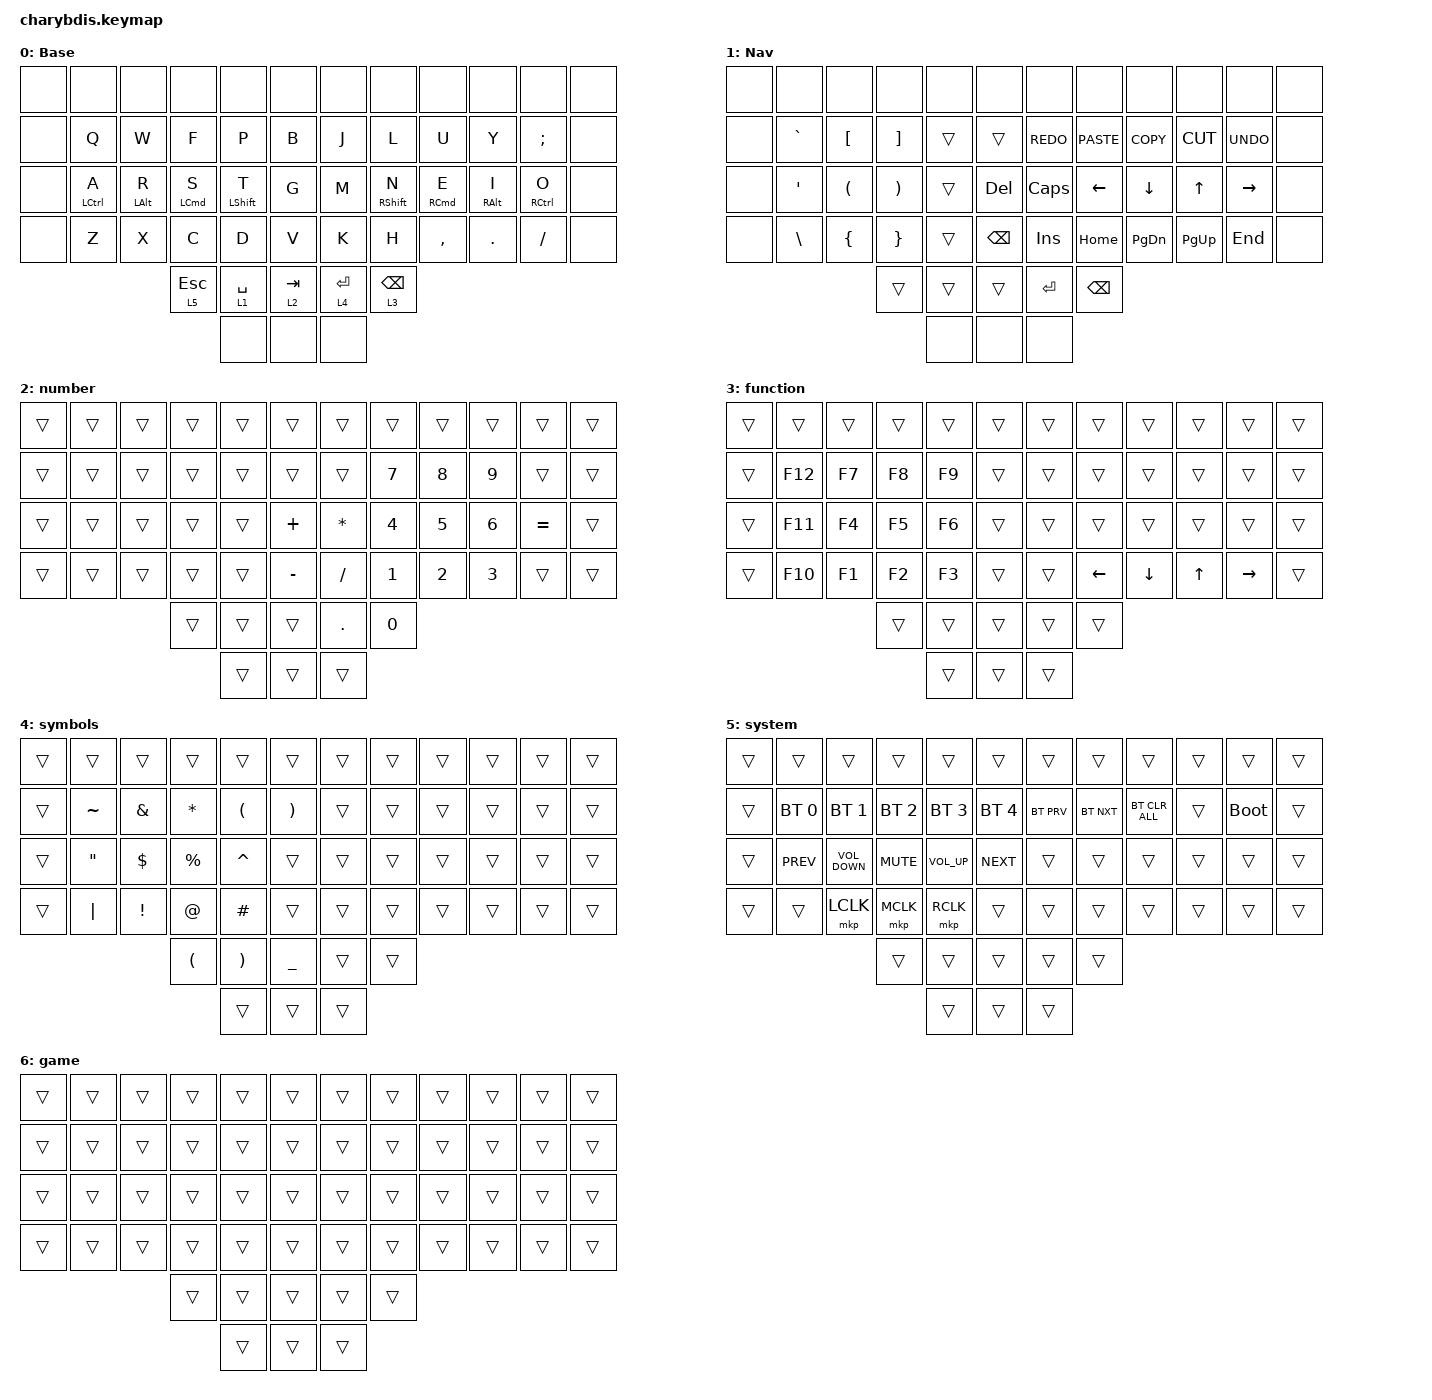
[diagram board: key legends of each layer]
#include <dt-bindings/zmk/mouse.h>
#include <behaviors.dtsi>
#include <dt-bindings/zmk/bt.h>
#include <dt-bindings/zmk/keys.h>
#include <dt-bindings/zmk/pointing.h>

&lt {
    tapping-term-ms = <280>;
    flavor = "balanced";
    quick-tap-ms = <150>;
    require-prior-idle-ms = <150>;
    hold-trigger-on-release;
};

&mt {
    tapping-term-ms = <280>;
    quick-tap-ms = <150>;
    require-prior-idle-ms = <150>;
    flavor = "balanced";
    hold-trigger-on-release;
};

/ {
    combos { compatible = "zmk,combos"; };

    keymap {
        compatible = "zmk,keymap";

        Base {
            bindings = <
&none  &none        &none           &none       &none             &none        &none        &none              &none                &none            &none          &none
&none  &kp Q        &kp W           &kp F       &kp P             &kp B        &kp J        &kp L              &kp U                &kp Y            &kp SEMICOLON  &none
&none  &mt LCTRL A  &mt LEFT_ALT R  &mt LCMD S  &mt LEFT_SHIFT T  &kp G        &kp M        &mt RIGHT_SHIFT N  &mt RIGHT_COMMAND E  &mt RIGHT_ALT I  &mt RCTRL O    &none
&none  &kp Z        &kp X           &kp C       &kp D             &kp V        &kp K        &kp H              &kp COMMA            &kp DOT          &kp SLASH      &none
                                    &lt 5 ESC   &lt 1 SPACE       &lt 2 TAB    &lt 4 ENTER  &lt 3 BACKSPACE
                                                &none             &none        &none
            >;
        };

        Nav {
            bindings = <
&none  &none          &none                 &none                  &none   &none            &none       &none          &none          &none        &none       &none
&none  &kp GRAVE      &kp LEFT_BRACKET      &kp RIGHT_BRACKET      &trans  &trans           &kp K_REDO  &kp K_PASTE    &kp K_COPY     &kp K_CUT    &kp K_UNDO  &none
&none  &kp SQT        &kp LEFT_PARENTHESIS  &kp RIGHT_PARENTHESIS  &trans  &kp DEL          &kp CAPS    &kp LEFT       &kp DOWN       &kp UP       &kp RIGHT   &none
&none  &kp BACKSLASH  &kp LEFT_BRACE        &kp RIGHT_BRACE        &trans  &kp BACKSPACE    &kp INS     &kp HOME       &kp PAGE_DOWN  &kp PAGE_UP  &kp END     &none
                                            &trans                 &trans  &trans           &kp ENTER   &kp BACKSPACE
                                                                   &none   &none            &none
            >;
        };

        number {
            bindings = <
&trans  &trans  &trans  &trans  &trans  &trans       &trans        &trans        &trans        &trans        &trans     &trans
&trans  &trans  &trans  &trans  &trans  &trans       &trans        &kp NUMBER_7  &kp NUMBER_8  &kp NUMBER_9  &trans     &trans
&trans  &trans  &trans  &trans  &trans  &kp PLUS     &kp ASTERISK  &kp NUMBER_4  &kp N5        &kp NUMBER_6  &kp EQUAL  &trans
&trans  &trans  &trans  &trans  &trans  &kp MINUS    &kp SLASH     &kp NUMBER_1  &kp NUMBER_2  &kp NUMBER_3  &trans     &trans
                        &trans  &trans  &trans       &kp DOT       &kp NUMBER_0
                                &trans  &trans       &trans
            >;
        };

        function {
            bindings = <
&trans  &trans   &trans  &trans  &trans  &trans    &trans  &trans    &trans    &trans  &trans     &trans
&trans  &kp F12  &kp F7  &kp F8  &kp F9  &trans    &trans  &trans    &trans    &trans  &trans     &trans
&trans  &kp F11  &kp F4  &kp F5  &kp F6  &trans    &trans  &trans    &trans    &trans  &trans     &trans
&trans  &kp F10  &kp F1  &kp F2  &kp F3  &trans    &trans  &kp LEFT  &kp DOWN  &kp UP  &kp RIGHT  &trans
                         &trans  &trans  &trans    &trans  &trans
                                 &trans  &trans    &trans
            >;
        };

        symbols {
            bindings = <
&trans  &trans             &trans           &trans        &trans                &trans                   &trans  &trans  &trans  &trans  &trans  &trans
&trans  &kp TILDE          &kp AMPERSAND    &kp ASTERISK  &kp LEFT_PARENTHESIS  &kp RIGHT_PARENTHESIS    &trans  &trans  &trans  &trans  &trans  &trans
&trans  &kp DOUBLE_QUOTES  &kp DOLLAR       &kp PERCENT   &kp CARET             &trans                   &trans  &trans  &trans  &trans  &trans  &trans
&trans  &kp PIPE           &kp EXCLAMATION  &kp AT_SIGN   &kp POUND             &trans                   &trans  &trans  &trans  &trans  &trans  &trans
                                            &kp LPAR      &kp RPAR              &kp UNDER                &trans  &trans
                                                          &trans                &trans                   &trans
            >;
        };

        system {
            bindings = <
&trans  &trans        &trans             &trans        &trans           &trans          &trans      &trans      &trans          &trans  &trans       &trans
&trans  &bt BT_SEL 0  &bt BT_SEL 1       &bt BT_SEL 2  &bt BT_SEL 3     &bt BT_SEL 4    &bt BT_PRV  &bt BT_NXT  &bt BT_CLR_ALL  &trans  &bootloader  &trans
&trans  &kp C_PREV    &kp C_VOLUME_DOWN  &kp C_MUTE    &kp C_VOLUME_UP  &kp C_NEXT      &trans      &trans      &trans          &trans  &trans       &trans
&trans  &trans        &mkp LCLK          &mkp MCLK     &mkp RCLK        &trans          &trans      &trans      &trans          &trans  &trans       &trans
                                         &trans        &trans           &trans          &trans      &trans
                                                       &trans           &trans          &trans
            >;
        };

        game {
            bindings = <
&trans  &trans  &trans  &trans  &trans  &trans    &trans  &trans  &trans  &trans  &trans  &trans
&trans  &trans  &trans  &trans  &trans  &trans    &trans  &trans  &trans  &trans  &trans  &trans
&trans  &trans  &trans  &trans  &trans  &trans    &trans  &trans  &trans  &trans  &trans  &trans
&trans  &trans  &trans  &trans  &trans  &trans    &trans  &trans  &trans  &trans  &trans  &trans
                        &trans  &trans  &trans    &trans  &trans
                                &trans  &trans    &trans
            >;
        };
    };
};
